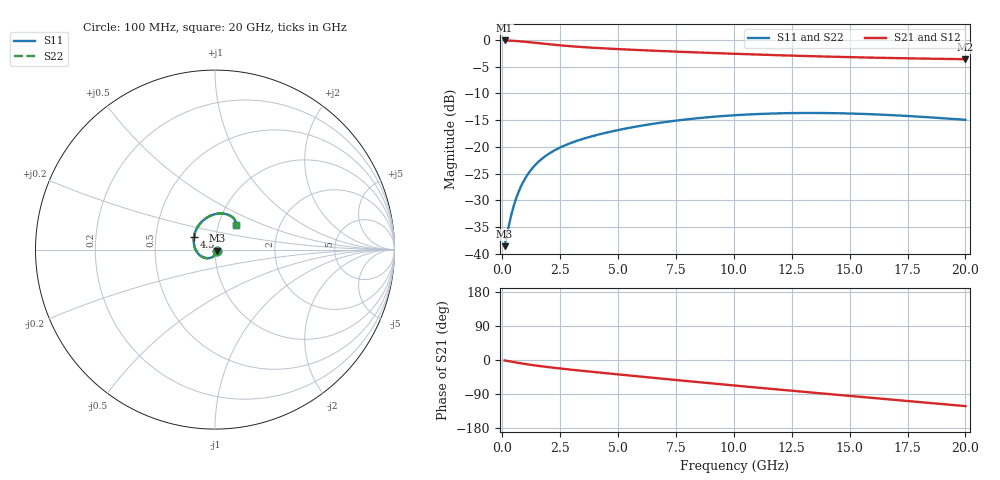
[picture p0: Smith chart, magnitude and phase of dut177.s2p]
! Created with skrf 1.9.0 (http://scikit-rf.org).
# GHz S RI R 50.0
!freq ReS11 ImS11 ReS21 ImS21 ReS12 ImS12 ReS22 ImS22
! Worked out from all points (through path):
!   200 points, 100 MHz to 20 GHz, reference 50 ohm
!   highest |S21| = -0.10 dB at 100 MHz (marker M1); lowest = -3.6 dB at 20 GHz (marker M2)
!   group delay of S21, straight-line fit = 16.1 ps
!   lowest |S11| = -38.6 dB at 100 MHz (marker M3), VSWR 1.02, Z = 51 - j0.609 ohm
!   |S11| at or under -10 dB: start of sweep to end of sweep
!   |S22| runs from -38.6 to -13.7 dB; largest |S21 - S12| = 2.2e-15
!   S11 on the Smith chart (normalised r, x): 100 MHz: 1.02, -0.01; 4.5 GHz: 0.78, +0.11; 20 GHz: 1.21, +0.34
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0.1  0.0101 -0.00597  0.9889 -0.0197  0.9889 -0.0197  0.0101 -0.00597
0.3  0.0071 -0.0177  0.9845 -0.0584  0.9845 -0.0584  0.0071 -0.0177
0.4  0.00444 -0.0232  0.9808 -0.0772  0.9808 -0.0772  0.00444 -0.0232
0.5  0.00108 -0.0283  0.9763 -0.0955  0.9763 -0.0955  0.00108 -0.0283
0.6  -0.00292 -0.0329  0.971 -0.1132  0.971 -0.1132  -0.00292 -0.0329
0.7  -0.00747 -0.037  0.965 -0.1303  0.965 -0.1303  -0.00747 -0.037
0.9  -0.0178 -0.0433  0.9514 -0.1625  0.9514 -0.1625  -0.0178 -0.0433
1.2  -0.035 -0.0479  0.9282 -0.2057  0.9282 -0.2057  -0.035 -0.0479
1.6  -0.0579 -0.0458  0.895 -0.2547  0.895 -0.2547  -0.0579 -0.0458
2.1  -0.0822 -0.0333  0.8539 -0.3051  0.8539 -0.3051  -0.0822 -0.0333
2.7  -0.1026 -0.0104  0.8075 -0.3556  0.8075 -0.3556  -0.1026 -0.0104
3.5  -0.1164 0.0249  0.7502 -0.4134  0.7502 -0.4134  -0.1164 0.0249
4.5  -0.1175 0.0683  0.6814 -0.4767  0.6814 -0.4767  -0.1175 0.0683
6.8  -0.0814 0.1468  0.5206 -0.5925  0.5206 -0.5925  -0.0814 0.1468
8.4  -0.0416 0.1803  0.4046 -0.6484  0.4046 -0.6484  -0.0416 0.1803
10.1  0.00289 0.198  0.2807 -0.686  0.2807 -0.686  0.00289 0.198
11.7  0.0412 0.201  0.166 -0.7027  0.166 -0.7027  0.0412 0.201
13.4  0.0744 0.1936  0.0484 -0.7028  0.0484 -0.7028  0.0744 0.1936
15  0.0969 0.1807  -0.0572 -0.688  -0.0572 -0.688  0.0969 0.1807
16.7  0.1113 0.1645  -0.1632 -0.6581  -0.1632 -0.6581  0.1113 0.1645
18.3  0.1164 0.1499  -0.2562 -0.6175  -0.2562 -0.6175  0.1164 0.1499
20  0.1144 0.1378  -0.3472 -0.5619  -0.3472 -0.5619  0.1144 0.1378
